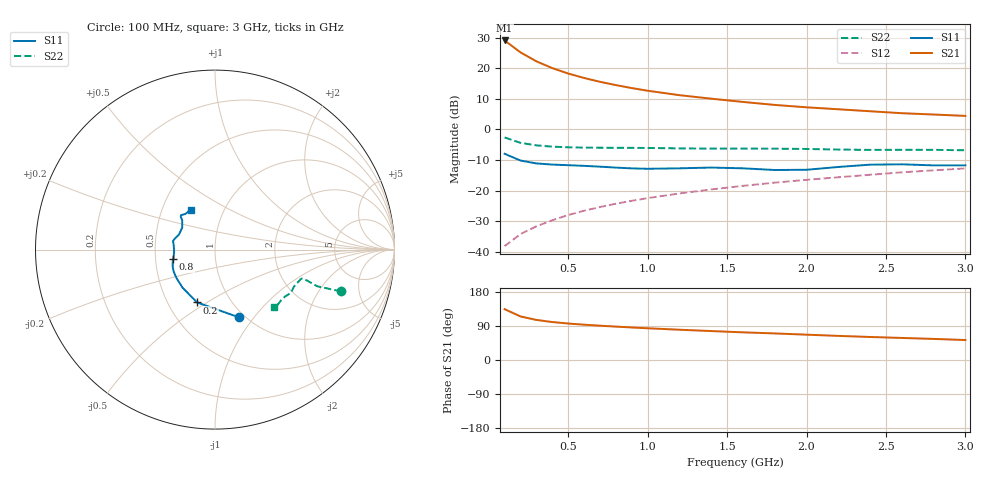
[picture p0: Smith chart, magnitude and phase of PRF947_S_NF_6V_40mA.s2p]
! Filename:  PRF947r.S2P  Version:  3.0
! Philips part #:  PRF947  Date:  Dec 1998
! Bias condition:  Vce=6V, Ic=40mA
#  MHz  S  MA  R 50
! Freq  S11  S21  S12  S22  :
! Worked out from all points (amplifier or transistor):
!   20 points, 100 MHz to 3 GHz, reference 50 ohm
!   highest |S21| = 29.1 dB at 100 MHz (marker M1)
!   |S21| within 3 dB of that: start of sweep to 177 MHz
!   unconditionally stable (mu >= 1): 312.6 MHz to end of sweep
!   at 400 MHz: K = 1.06, MAG = 23.4 dB, |S12| = -29.6 dB
!   at 1.2 GHz: K = 1.15, MAG = 13.7 dB, |S12| = -20.9 dB
!   at 3 GHz: K = 1.08, MAG = 6.8 dB, |S12| = -12.7 dB
!   lowest NFmin = 3.03 dB at 500 MHz
!   S11 on the Smith chart (normalised r, x): 100 MHz: 0.94, -0.85; 200 MHz: 0.70, -0.45; 800 MHz: 0.62, -0.07; 3 GHz: 0.70, +0.33
100  0.4006 -70.5  28.37 134.2  0.01242 68.7  0.7411 -18.3
200  0.3107 -108.7  18.11 114.9  0.01958 68.6  0.6042 -19.8
300  0.2788 -130.4  12.95 105.7  0.0262 71.4  0.5493 -18.7
400  0.2669 -143.5  10.03 100.2  0.03294 73.9  0.5236 -18.2
500  0.2609 -152.0  8.183 96.3  0.04003 76.0  0.5111 -18.4
600  0.2544 -157.9  6.923 93.2  0.04703 77.3  0.5051 -18.9
700  0.2467 -162.8  5.994 90.5  0.05409 78.4  0.5029 -19.4
800  0.2383 -167.6  5.296 88.1  0.06122 79.2  0.5019 -20.0
900  0.2314 -172.6  4.736 85.8  0.06839 79.8  0.5004 -20.5
1000  0.2279 -177.8  4.287 83.8  0.07561 80.1  0.4981 -21.1
1200  0.2318 173.4  3.627 79.9  0.09016 80.5  0.491 -22.7
1400  0.2386 168.5  3.18 76.4  0.1048 80.6  0.486 -25.2
1600  0.2319 164.7  2.813 73.0  0.12 80.7  0.4863 -27.7
1800  0.2177 157.4  2.514 70.1  0.1354 80.5  0.4858 -29.6
2000  0.2196 146.3  2.298 66.8  0.1504 80.3  0.4799 -31.3
2200  0.2438 138.4  2.135 63.6  0.1657 80.0  0.4698 -33.8
2400  0.2661 135.9  1.982 60.8  0.1819 79.5  0.4638 -37.0
2600  0.2696 134.6  1.841 58.2  0.1995 78.8  0.4648 -40.0
2800  0.2588 130.0  1.752 55.6  0.2147 78.6  0.4643 -42.1
3000  0.2592 121.2  1.664 52.7  0.2312 78.3  0.457 -44.1
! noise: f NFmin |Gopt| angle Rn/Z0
500  3.03  0.06  82  0.74
800  3.92  0.07  -86  0.5
900  3.9  0.05  -112  0.05
1000  3.85  0.15  -153  0.37
1500  3.85  0.52  -144  0.11
2000  4.51  0.26  -117  0.65
